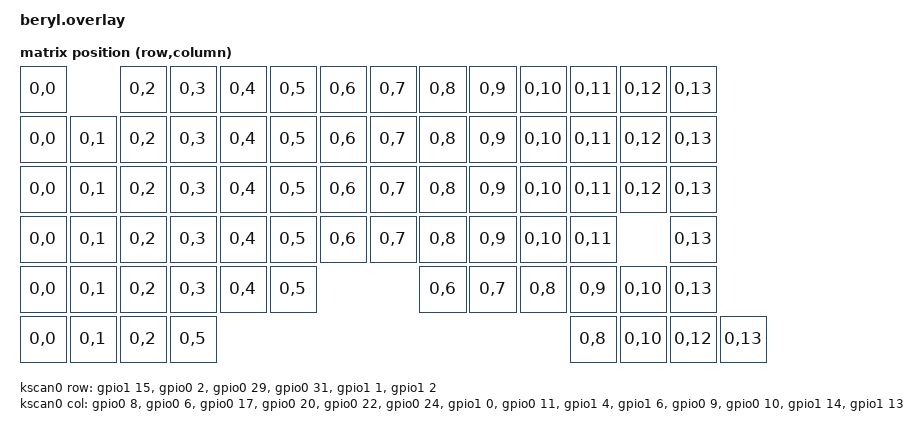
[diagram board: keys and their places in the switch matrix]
#include <dt-bindings/zmk/matrix_transform.h>

/ {
    chosen {
        zmk,kscan = &kscan0;
		zmk,matrix-transform = &default_transform;
    };

	default_transform: keymap_transform_0 {
        compatible = "zmk,matrix-transform";
        columns = <14>; // Length of the "col-gpios" array
        rows = <6>; // Length of the "row-gpios" array
        map = <
			//
            RC(0,0)         RC(0,2) RC(0,3) RC(0,4) RC(0,5) RC(0,6) RC(0,7) RC(0,8) RC(0,9) RC(0,10) RC(0,11) RC(0,12) RC(0,13)
			//
            RC(0,0) RC(0,1) RC(0,2) RC(0,3) RC(0,4) RC(0,5) RC(0,6) RC(0,7) RC(0,8) RC(0,9) RC(0,10) RC(0,11) RC(0,12) RC(0,13) 
			//
			RC(0,0) RC(0,1) RC(0,2) RC(0,3) RC(0,4) RC(0,5) RC(0,6) RC(0,7) RC(0,8) RC(0,9) RC(0,10) RC(0,11) RC(0,12) RC(0,13) 
			//
            RC(0,0) RC(0,1) RC(0,2) RC(0,3) RC(0,4) RC(0,5) RC(0,6) RC(0,7) RC(0,8) RC(0,9) RC(0,10) RC(0,11)           RC(0,13) 
			//
            RC(0,0) RC(0,1) RC(0,2) RC(0,3) RC(0,4) RC(0,5) RC(0,6) RC(0,7) RC(0,8) RC(0,9) RC(0,10)                     RC(0,13) 
			//
			RC(0,0) RC(0,1) RC(0,2)                   RC(0,5)                   RC(0,8)         RC(0,10)           RC(0,12) RC(0,13) 
			//
        >;
    };
	kscan0: kscan0 {
			compatible = "zmk,kscan-gpio-matrix";
			diode-direction = "col2row";
			wakeup-source;

			col-gpios
				= <&gpio0 8 GPIO_ACTIVE_HIGH>
				, <&gpio0 6 GPIO_ACTIVE_HIGH>
				, <&gpio0 17 GPIO_ACTIVE_HIGH>
				, <&gpio0 20 GPIO_ACTIVE_HIGH>
				, <&gpio0 22 GPIO_ACTIVE_HIGH>
				, <&gpio0 24 GPIO_ACTIVE_HIGH>
				, <&gpio1 0 GPIO_ACTIVE_HIGH>
				, <&gpio0 11 GPIO_ACTIVE_HIGH>
				, <&gpio1 4 GPIO_ACTIVE_HIGH>
				, <&gpio1 6 GPIO_ACTIVE_HIGH>
				, <&gpio0 9 GPIO_ACTIVE_HIGH>
				, <&gpio0 10 GPIO_ACTIVE_HIGH>
				, <&gpio1 14 GPIO_ACTIVE_HIGH>
				, <&gpio1 13 GPIO_ACTIVE_HIGH>
				;

			row-gpios
				= <&gpio1 15 (GPIO_ACTIVE_HIGH | GPIO_PULL_DOWN)>
				, <&gpio0 2 (GPIO_ACTIVE_HIGH | GPIO_PULL_DOWN)>
				, <&gpio0 29 (GPIO_ACTIVE_HIGH | GPIO_PULL_DOWN)>
				, <&gpio0 31 (GPIO_ACTIVE_HIGH | GPIO_PULL_DOWN)>
				, <&gpio1 1 (GPIO_ACTIVE_HIGH | GPIO_PULL_DOWN)>
				, <&gpio1 2 (GPIO_ACTIVE_HIGH | GPIO_PULL_DOWN)>			
				;
	};
};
